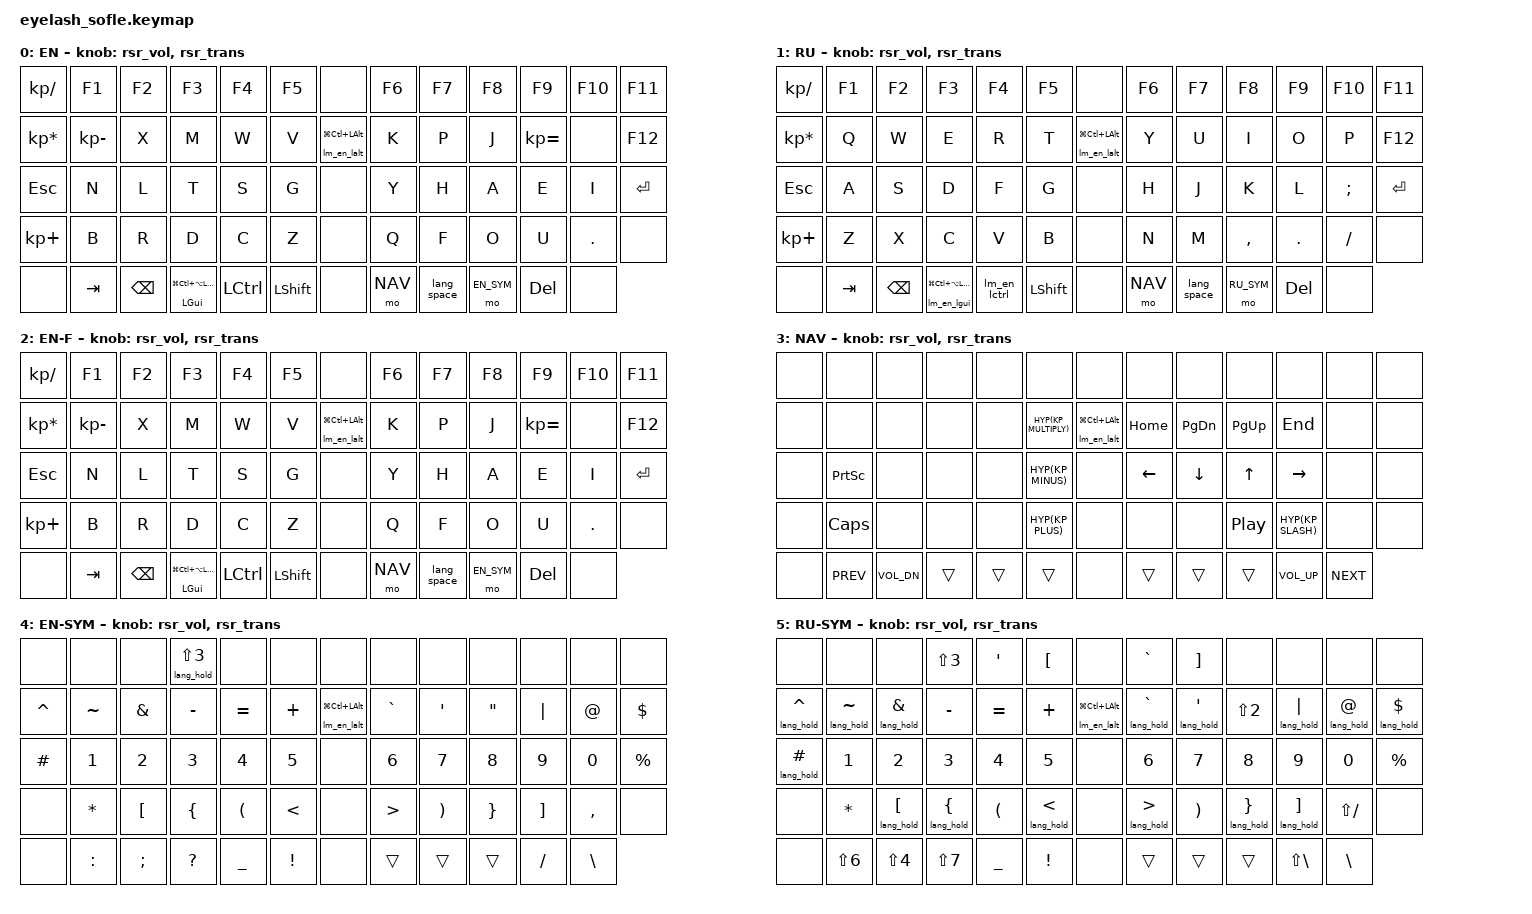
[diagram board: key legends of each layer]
#include <behaviors.dtsi>
#include <dt-bindings/zmk/behaviors.h>
#include <dt-bindings/zmk/keys.h>
#include <behaviors/runtime-sensor-rotate.dtsi>

#define EN 0
#define RU 1
#define EN_FORCE 2
#define NAV 3
#define EN_SYM 4
#define RU_SYM 5

#define HYPER LG(LC(LA(LSHFT)))
#define CGA LG(LC(LALT))
#define HYP(k) LG(LC(LA(LS(k))))

&sk {
    release-after-ms = <250>;
    quick-release;
};

/ {
    behaviors {
        rsr_vol: rsr_vol {
            compatible = "zmk,behavior-runtime-sensor-rotate";
            #sensor-binding-cells = <0>;
            tap-ms = <5>;
            cw-binding = <&kp C_VOL_UP>;
            ccw-binding = <&kp C_VOL_DN>;
        };

        rsr_trans: rsr_trans {
            compatible = "zmk,behavior-runtime-sensor-rotate";
            #sensor-binding-cells = <0>;
            tap-ms = <0>;
        };

        sk_lazy: sticky_key_lazy {
            compatible = "zmk,behavior-sticky-key";
            #binding-cells = <1>;
            bindings = <&kp>;
            release-after-ms = <250>;
            quick-release;
            lazy;
        };

        mt_os: mod_tap_oneshot {
            compatible = "zmk,behavior-hold-tap";
            #binding-cells = <2>;
            flavor = "hold-preferred";
            tapping-term-ms = <250>;
            quick-tap-ms = <0>;
            hold-while-undecided;
            hold-while-undecided-linger;
            bindings = <&kp>, <&sk_lazy>;
        };

        lm_os_gui: layer_mod_tap_gui {
            compatible = "zmk,behavior-hold-tap";
            #binding-cells = <2>;
            flavor = "hold-preferred";
            tapping-term-ms = <250>;
            quick-tap-ms = <0>;
            hold-while-undecided;
            hold-while-undecided-linger;
            bindings = <&lm_en_lgui>, <&sk_lazy>;
        };

        lm_os_alt: layer_mod_tap_alt {
            compatible = "zmk,behavior-hold-tap";
            #binding-cells = <2>;
            flavor = "hold-preferred";
            tapping-term-ms = <250>;
            quick-tap-ms = <0>;
            hold-while-undecided;
            hold-while-undecided-linger;
            bindings = <&lm_en_lalt>, <&sk_lazy>;
        };

        lang_space: lang_space {
            compatible = "zmk,behavior-mod-morph";
            #binding-cells = <0>;
            bindings = <&kp SPACE>, <&lang_tog>;
            mods = <(MOD_LGUI|MOD_RGUI)>;
        };
    };

    macros {
        lm_en_lgui: lm_en_lgui {
            compatible = "zmk,behavior-macro";
            #binding-cells = <0>;
            wait-ms = <0>;
            tap-ms = <0>;
            bindings
                = <&macro_press &mo EN_FORCE &kp LGUI>
                , <&macro_pause_for_release>
                , <&macro_release &kp LGUI &mo EN_FORCE>
                ;
        };

        lm_en_lalt: lm_en_lalt {
            compatible = "zmk,behavior-macro";
            #binding-cells = <0>;
            wait-ms = <0>;
            tap-ms = <0>;
            bindings
                = <&macro_press &mo EN_FORCE &kp LALT>
                , <&macro_pause_for_release>
                , <&macro_release &kp LALT &mo EN_FORCE>
                ;
        };

        lm_en_lctrl: lm_en_lctrl {
            compatible = "zmk,behavior-macro";
            #binding-cells = <0>;
            wait-ms = <0>;
            tap-ms = <0>;
            bindings
                = <&macro_press &mo EN_FORCE &kp LCTRL>
                , <&macro_pause_for_release>
                , <&macro_release &kp LCTRL &mo EN_FORCE>
                ;
        };

        lang_tog: lang_tog {
            compatible = "zmk,behavior-macro";
            #binding-cells = <0>;
            wait-ms = <50>;
            tap-ms = <40>;
            bindings
                = <&kp LG(SPACE)>
                , <&tog RU>
                ;
        };

        lang_hold: lang_hold {
            compatible = "zmk,behavior-macro-one-param";
            #binding-cells = <1>;
            wait-ms = <50>;
            tap-ms = <40>;
            bindings
                = <&macro_tap &kp LG(SPACE)>
                , <&macro_param_1to1>
                , <&macro_press &kp MACRO_PLACEHOLDER>
                , <&macro_pause_for_release>
                , <&macro_param_1to1>
                , <&macro_release &kp MACRO_PLACEHOLDER>
                , <&macro_tap &kp LG(SPACE)>
                ;
        };
    };

    keymap {
        compatible = "zmk,keymap";

        en_graphite {
            bindings = <
&kp KP_SLASH    &kp F1        &kp F2        &kp F3       &kp F4      &kp F5          &none               &kp F6        &kp F7        &kp F8        &kp F9        &kp F10       &kp F11
&kp KP_MULTIPLY &kp KP_MINUS  &kp X         &kp M        &kp W       &kp V           &lm_os_alt 0 CGA    &kp K         &kp P         &kp J         &kp KP_EQUAL  &none         &kp F12
&kp ESC         &kp N         &kp L         &kp T        &kp S       &kp G           &none               &kp Y         &kp H         &kp A         &kp E         &kp I         &kp ENTER
&kp KP_PLUS     &kp B         &kp R         &kp D        &kp C       &kp Z           &none               &kp Q         &kp F         &kp O         &kp U         &kp DOT       &none
&none           &kp TAB       &kp BSPC      &mt_os LGUI HYPER  &kp LCTRL  &kp LSHFT  &none               &mo NAV       &lang_space   &mo EN_SYM    &kp DEL       &none
            >;

            sensor-bindings = <&rsr_vol &rsr_trans>;
            display-name = "EN";
        };

        ru_jcuken {
            bindings = <
&kp KP_SLASH    &kp F1        &kp F2        &kp F3       &kp F4      &kp F5          &none               &kp F6        &kp F7        &kp F8        &kp F9        &kp F10       &kp F11
&kp KP_MULTIPLY &kp Q         &kp W         &kp E        &kp R       &kp T           &lm_os_alt 0 CGA    &kp Y         &kp U         &kp I         &kp O         &kp P         &kp F12
&kp ESC         &kp A         &kp S         &kp D        &kp F       &kp G           &none               &kp H         &kp J         &kp K         &kp L         &kp SEMI      &kp ENTER
&kp KP_PLUS     &kp Z         &kp X         &kp C        &kp V       &kp B           &none               &kp N         &kp M         &kp COMMA     &kp DOT       &kp FSLH      &none
&none           &kp TAB       &kp BSPC      &lm_os_gui 0 HYPER  &lm_en_lctrl &kp LSHFT &none               &mo NAV       &lang_space   &mo RU_SYM    &kp DEL       &none
            >;

            sensor-bindings = <&rsr_vol &rsr_trans>;
            display-name = "RU";
        };

        en_force {
            bindings = <
&kp KP_SLASH    &kp F1        &kp F2        &kp F3       &kp F4      &kp F5          &none               &kp F6        &kp F7        &kp F8        &kp F9        &kp F10       &kp F11
&kp KP_MULTIPLY &kp KP_MINUS  &kp X         &kp M        &kp W       &kp V           &lm_os_alt 0 CGA    &kp K         &kp P         &kp J         &kp KP_EQUAL  &none         &kp F12
&kp ESC         &kp N         &kp L         &kp T        &kp S       &kp G           &none               &kp Y         &kp H         &kp A         &kp E         &kp I         &kp ENTER
&kp KP_PLUS     &kp B         &kp R         &kp D        &kp C       &kp Z           &none               &kp Q         &kp F         &kp O         &kp U         &kp DOT       &none
&none           &kp TAB       &kp BSPC      &mt_os LGUI HYPER  &kp LCTRL  &kp LSHFT  &none               &mo NAV       &lang_space   &mo EN_SYM    &kp DEL       &none
            >;

            sensor-bindings = <&rsr_vol &rsr_trans>;
            display-name = "EN-F";
        };

        nav {
            bindings = <
&none           &none         &none         &none        &none       &none           &none               &none         &none         &none         &none         &none         &none
&none           &none         &none         &none        &none       &kp HYP(KP_MULTIPLY) &lm_os_alt 0 CGA &kp HOME      &kp PG_DN     &kp PG_UP     &kp END       &none         &none
&none           &kp PSCRN     &none         &none        &none       &kp HYP(KP_MINUS)    &none           &kp LEFT      &kp DOWN      &kp UP        &kp RIGHT     &none         &none
&none           &kp CAPS      &none         &none        &none       &kp HYP(KP_PLUS)     &none           &none         &none         &kp C_PLAY_PAUSE &kp HYP(KP_SLASH) &none     &none
&none           &kp C_PREV    &kp C_VOL_DN  &trans       &trans      &trans          &none               &trans        &trans        &trans        &kp C_VOL_UP  &kp C_NEXT
            >;

            sensor-bindings = <&rsr_vol &rsr_trans>;
            display-name = "NAV";
        };

        en_sym {
            bindings = <
&none           &none         &none         &lang_hold LS(N3) &none    &none          &none               &none         &none         &none         &none         &none         &none
&kp CARET       &kp TILDE     &kp AMPS      &kp MINUS    &kp EQUAL   &kp PLUS        &lm_os_alt 0 CGA    &kp GRAVE     &kp APOS      &kp DQT       &kp PIPE      &kp AT        &kp DOLLAR
&kp HASH        &kp N1        &kp N2        &kp N3       &kp N4      &kp N5          &none               &kp N6        &kp N7        &kp N8        &kp N9        &kp N0        &kp PRCNT
&none           &kp STAR      &kp LBKT      &kp LBRC     &kp LPAR    &kp LT          &none               &kp GT        &kp RPAR      &kp RBRC      &kp RBKT      &kp COMMA     &none
&none           &kp COLON     &kp SEMI      &kp QMARK    &kp UNDER   &kp EXCL        &none               &trans        &trans        &trans        &kp FSLH      &kp BSLH
            >;

            sensor-bindings = <&rsr_vol &rsr_trans>;
            display-name = "EN-SYM";
        };

        ru_sym {
            bindings = <
&none           &none         &none         &kp LS(N3)   &kp APOS    &kp LBKT        &none               &kp GRAVE     &kp RBKT      &none         &none         &none         &none
&lang_hold CARET &lang_hold TILDE &lang_hold AMPS &kp MINUS &kp EQUAL &kp PLUS        &lm_os_alt 0 CGA    &lang_hold GRAVE &lang_hold APOS &kp LS(N2) &lang_hold PIPE &lang_hold AT &lang_hold DOLLAR
&lang_hold HASH &kp N1       &kp N2        &kp N3       &kp N4      &kp N5          &none               &kp N6        &kp N7        &kp N8        &kp N9        &kp N0        &kp PRCNT
&none           &kp STAR      &lang_hold LBKT &lang_hold LBRC &kp LPAR &lang_hold LT  &none               &lang_hold GT &kp RPAR      &lang_hold RBRC &lang_hold RBKT &kp LS(FSLH) &none
&none           &kp LS(N6)    &kp LS(N4)    &kp LS(N7)   &kp UNDER   &kp EXCL        &none               &trans        &trans        &trans        &kp LS(BSLH)  &kp BSLH
            >;

            sensor-bindings = <&rsr_vol &rsr_trans>;
            display-name = "RU-SYM";
        };
    };
};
